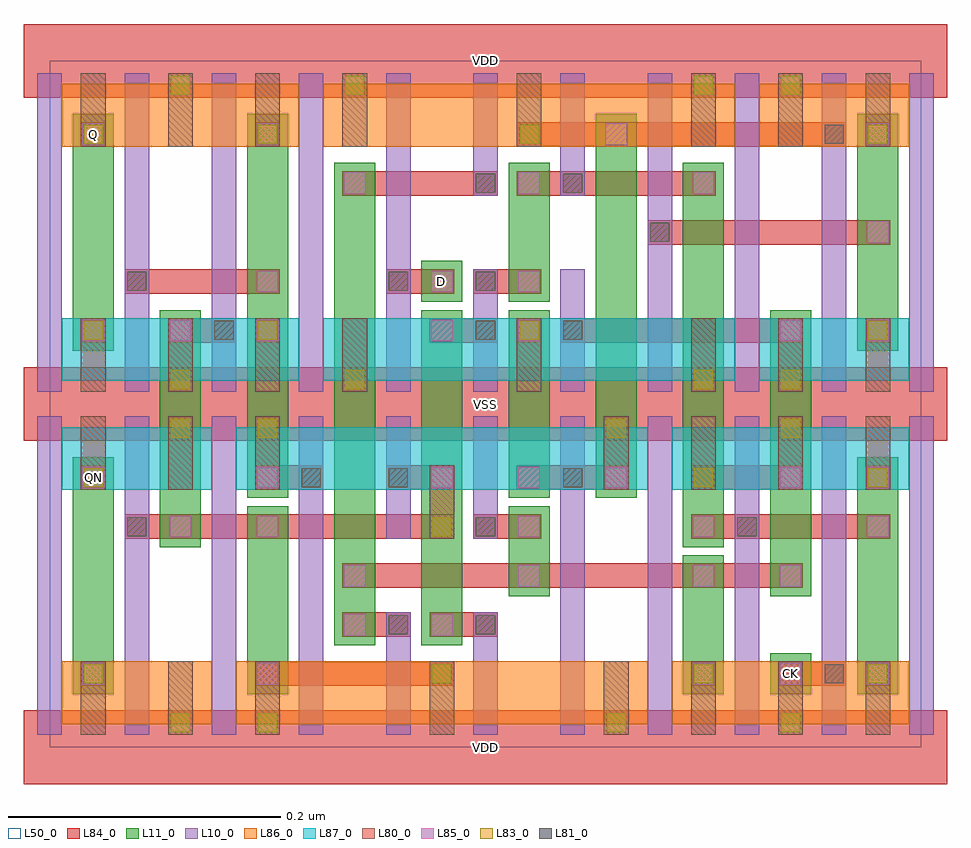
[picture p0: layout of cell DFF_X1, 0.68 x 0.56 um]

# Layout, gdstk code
import gdstk
lib = gdstk.Library(unit=1e-6, precision=1e-09)
def R(c, l, rs):  # rectangles x0, y0, x1, y1
    for r in rs: c.add(gdstk.rectangle(r[:2], r[2:], *l))
def A(c, l, x, y, w, h, nx, ny, dx, dy):  # array of equal rectangles
    R(c, l, [(x+i*dx, y+j*dy, x+i*dx+w, y+j*dy+h) for i in range(nx) for j in range(ny)])
L10_0 = (10, 0)
L11_0 = (11, 0)
L50_0 = (50, 0)
L80_0 = (80, 0)
L81_0 = (81, 0)
L83_0 = (83, 0)
L84_0 = (84, 0)
L85_0 = (85, 0)
L86_0 = (86, 0)
L87_0 = (87, 0)

dff_x1 = lib.new_cell('DFF_X1')
A(dff_x1, L10_0, -0.009, 0.009, 0.018, 0.234, 4, 1, 0.064, 0)
A(dff_x1, L10_0, 0.375, 0.009, 0.018, 0.234, 5, 1, 0.064, 0)
A(dff_x1, L10_0, -0.009, 0.261, 0.018, 0.234, 5, 1, 0.064, 0)
A(dff_x1, L10_0, 0.439, 0.261, 0.018, 0.234, 4, 1, 0.064, 0)
R(dff_x1, L10_0, [(0.247,0.009,0.265,0.099), (0.311,0.009,0.329,0.099), (0.247,0.153,0.265,0.243), (0.311,0.153,0.329,0.243), (0.311,0.261,0.329,0.351), (0.375,0.261,0.393,0.351), (0.311,0.405,0.329,0.495), (0.375,0.405,0.393,0.495)])
R(dff_x1, L11_0, [(0.017,0.039,0.047,0.213), (0.145,0.039,0.175,0.177), (0.465,0.039,0.495,0.141), (0.529,0.039,0.559,0.069), (0.593,0.039,0.623,0.213), (0.209,0.075,0.239,0.429), (0.273,0.075,0.303,0.321), (0.337,0.111,0.367,0.177), (0.529,0.111,0.559,0.321), (0.081,0.147,0.111,0.321), (0.465,0.147,0.495,0.429), (0.145,0.183,0.175,0.465), (0.337,0.183,0.367,0.321), (0.401,0.183,0.431,0.465), (0.017,0.291,0.047,0.465), (0.593,0.291,0.623,0.465), (0.273,0.327,0.303,0.357), (0.337,0.327,0.367,0.429)])
R(dff_x1, L50_0, [(0,0,0.64,0.504)])
A(dff_x1, L80_0, 0.023, 0.009, 0.018, 0.054, 3, 2, 0.064, 0.18)
A(dff_x1, L80_0, 0.407, 0.009, 0.018, 0.054, 4, 2, 0.064, 0.18)
A(dff_x1, L80_0, 0.023, 0.261, 0.018, 0.054, 4, 2, 0.064, 0.18)
A(dff_x1, L80_0, 0.471, 0.261, 0.018, 0.054, 3, 2, 0.064, 0.18)
R(dff_x1, L80_0, [(0.279,0.009,0.297,0.063), (0.279,0.153,0.297,0.207), (0.343,0.261,0.361,0.315), (0.343,0.441,0.361,0.495)])
A(dff_x1, L81_0, 0.377, 0.191, 0.014, 0.014, 1, 3, 0, 0.108)
R(dff_x1, L81_0, [(0.569,0.047,0.583,0.061), (0.249,0.083,0.263,0.097), (0.313,0.083,0.327,0.097), (0.057,0.155,0.071,0.169), (0.313,0.155,0.327,0.169), (0.505,0.155,0.519,0.169), (0.185,0.191,0.199,0.205), (0.249,0.191,0.263,0.205), (0.121,0.299,0.135,0.313), (0.313,0.299,0.327,0.313), (0.057,0.335,0.071,0.349), (0.249,0.335,0.263,0.349), (0.313,0.335,0.327,0.349), (0.441,0.371,0.455,0.385), (0.313,0.407,0.327,0.421), (0.569,0.443,0.583,0.457)])
R(dff_x1, L83_0, [(0.089,0.011,0.103,0.025), (0.153,0.011,0.167,0.025), (0.409,0.011,0.423,0.025), (0.537,0.011,0.551,0.025), (0.025,0.047,0.039,0.061), (0.281,0.047,0.295,0.061), (0.473,0.047,0.487,0.061), (0.601,0.047,0.615,0.061), (0.281,0.155,0.295,0.169), (0.025,0.191,0.039,0.205), (0.473,0.191,0.487,0.205), (0.601,0.191,0.615,0.205), (0.089,0.227,0.103,0.241), (0.153,0.227,0.167,0.241), (0.409,0.227,0.423,0.241), (0.537,0.227,0.551,0.241), (0.089,0.263,0.103,0.277), (0.217,0.263,0.231,0.277), (0.473,0.263,0.487,0.277), (0.537,0.263,0.551,0.277), (0.025,0.299,0.039,0.313), (0.153,0.299,0.167,0.313), (0.345,0.299,0.359,0.313), (0.601,0.299,0.615,0.313), (0.025,0.443,0.039,0.457), (0.153,0.443,0.167,0.457), (0.345,0.443,0.359,0.457), (0.601,0.443,0.615,0.457), (0.089,0.479,0.103,0.493), (0.217,0.479,0.231,0.493), (0.473,0.479,0.487,0.493), (0.537,0.479,0.551,0.493)])
A(dff_x1, L84_0, -0.019, -0.027, 0.678, 0.054, 1, 3, 0, 0.252)
R(dff_x1, L84_0, [(0.023,0.045,0.041,0.063), (0.151,0.045,0.297,0.063), (0.471,0.045,0.489,0.063), (0.535,0.045,0.585,0.063), (0.599,0.045,0.617,0.063), (0.215,0.081,0.265,0.099), (0.279,0.081,0.329,0.099), (0.215,0.117,0.553,0.135), (0.055,0.153,0.297,0.171), (0.311,0.153,0.361,0.171), (0.471,0.153,0.617,0.171), (0.023,0.189,0.041,0.207), (0.151,0.189,0.201,0.207), (0.247,0.189,0.297,0.207), (0.343,0.189,0.425,0.207), (0.471,0.189,0.553,0.207), (0.599,0.189,0.617,0.207), (0.023,0.297,0.041,0.315), (0.087,0.297,0.137,0.315), (0.151,0.297,0.169,0.315), (0.279,0.297,0.329,0.315), (0.343,0.297,0.361,0.315), (0.375,0.297,0.553,0.315), (0.599,0.297,0.617,0.315), (0.055,0.333,0.169,0.351), (0.247,0.333,0.297,0.351), (0.311,0.333,0.361,0.351), (0.439,0.369,0.617,0.387), (0.215,0.405,0.329,0.423), (0.343,0.405,0.489,0.423), (0.023,0.441,0.041,0.459), (0.151,0.441,0.169,0.459), (0.343,0.441,0.585,0.459), (0.599,0.441,0.617,0.459)])
A(dff_x1, L85_0, 0.472, 0.046, 0.016, 0.016, 3, 1, 0.064, 0)
A(dff_x1, L85_0, 0.216, 0.118, 0.016, 0.016, 3, 2, 0.128, 0.288)
A(dff_x1, L85_0, 0.344, 0.154, 0.016, 0.016, 3, 1, 0.128, 0)
A(dff_x1, L85_0, 0.024, 0.19, 0.016, 0.016, 3, 1, 0.128, 0)
A(dff_x1, L85_0, 0.024, 0.298, 0.016, 0.016, 3, 1, 0.064, 0)
A(dff_x1, L85_0, 0.6, 0.298, 0.016, 0.016, 1, 3, 0, 0.072)
R(dff_x1, L85_0, [(0.024,0.046,0.04,0.062), (0.152,0.046,0.168,0.062), (0.216,0.082,0.232,0.098), (0.28,0.082,0.296,0.098), (0.536,0.118,0.552,0.134), (0.088,0.154,0.104,0.17), (0.152,0.154,0.168,0.17), (0.344,0.19,0.36,0.206), (0.408,0.19,0.424,0.206), (0.536,0.19,0.552,0.206), (0.6,0.19,0.616,0.206), (0.28,0.298,0.296,0.314), (0.344,0.298,0.36,0.314), (0.536,0.298,0.552,0.314), (0.152,0.334,0.168,0.35), (0.28,0.334,0.296,0.35), (0.344,0.334,0.36,0.35), (0.024,0.442,0.04,0.458), (0.152,0.442,0.168,0.458), (0.408,0.442,0.424,0.458)])
R(dff_x1, L86_0, [(0.009,0.017,0.119,0.063), (0.137,0.017,0.439,0.063), (0.457,0.017,0.631,0.063), (0.009,0.441,0.183,0.487), (0.201,0.441,0.503,0.487), (0.521,0.441,0.631,0.487)])
R(dff_x1, L87_0, [(0.009,0.189,0.119,0.235), (0.137,0.189,0.439,0.235), (0.457,0.189,0.631,0.235), (0.009,0.269,0.183,0.315), (0.201,0.269,0.503,0.315), (0.521,0.269,0.631,0.315)])
dff_x1.add(gdstk.Label('VDD', (0.32,0.504), layer=88, texttype=0))
dff_x1.add(gdstk.Label('VDD', (0.32,0), layer=88, texttype=0))
dff_x1.add(gdstk.Label('VSS', (0.32,0.252), layer=88, texttype=0))
dff_x1.add(gdstk.Label('QN', (0.032,0.198), layer=31, texttype=0))
dff_x1.add(gdstk.Label('Q', (0.032,0.45), layer=31, texttype=0))
dff_x1.add(gdstk.Label('D', (0.288,0.342), layer=31, texttype=0))
dff_x1.add(gdstk.Label('CK', (0.544,0.054), layer=31, texttype=0))

lib.write_gds('DFF_X1.gds')
